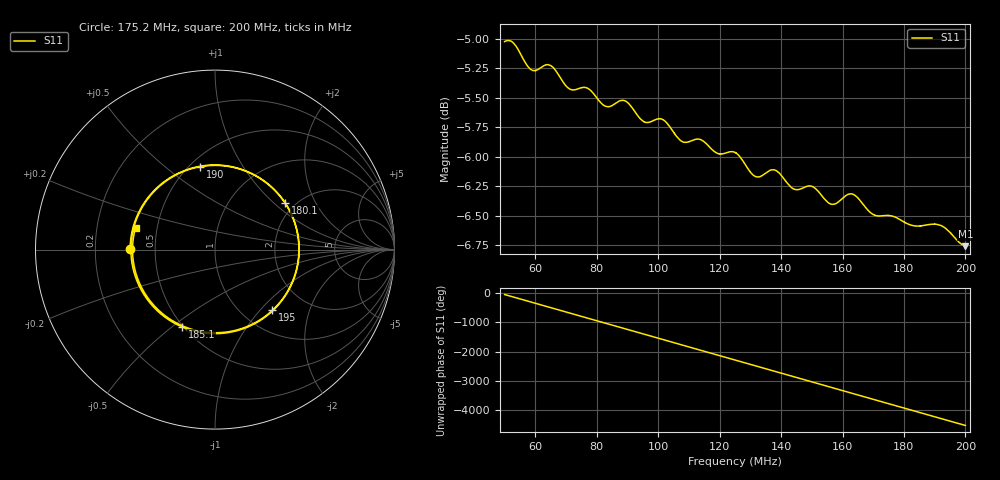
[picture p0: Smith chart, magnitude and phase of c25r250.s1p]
! COPPER MOUNTAIN TECHNOLOGIES, PLANAR TR1300/1, 00071119, 20.2.2/1.0
! Date: 11/21/2023 6:53:13 PM
! Data: Format [Calibration Info]
! Freq  S11: Re/Im F1
# HZ S RI R 50
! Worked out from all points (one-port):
!   12288 points, 50 MHz to 200 MHz, reference 50 ohm
!   lowest |S11| = -6.8 dB at 200 MHz (marker M1), VSWR 2.70, Z = 18.8 + j6.07 ohm
!   |S11| at or under -10 dB: nowhere
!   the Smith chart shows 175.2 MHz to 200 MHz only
!   S11 on the Smith chart (normalised r, x): 175.2 MHz: 0.36, +0.00; 180.1 MHz: 1.78, +1.19; 185.1 MHz: 0.49, -0.54; 190 MHz: 0.56, +0.67; 195 MHz: 1.36, -1.17; 200 MHz: 0.38, +0.12
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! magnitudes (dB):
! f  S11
! 50 MHz  -5.0
! 53 MHz  -5.0
! 58.59 MHz  -5.3
! 64.58 MHz  -5.2
! 68.75 MHz  -5.4
! 71.68 MHz  -5.4
! 77.19 MHz  -5.4
! 82.91 MHz  -5.6
! 87.5 MHz  -5.5
! 95.51 MHz  -5.7
! 101.7 MHz  -5.7
! 106.3 MHz  -5.8
! 125 MHz  -6.0
! 131.3 MHz  -6.2
! 138 MHz  -6.1
! 143.8 MHz  -6.3
! 150.2 MHz  -6.3
! 156.6 MHz  -6.4
! 162.5 MHz  -6.3
! 170 MHz  -6.5
! 175.2 MHz  -6.5
! 180.1 MHz  -6.6
! 181.3 MHz  -6.6
! 185.1 MHz  -6.6
! 190 MHz  -6.6
! 195 MHz  -6.6
! 200 MHz  -6.8
! 200 MHz  -6.8
